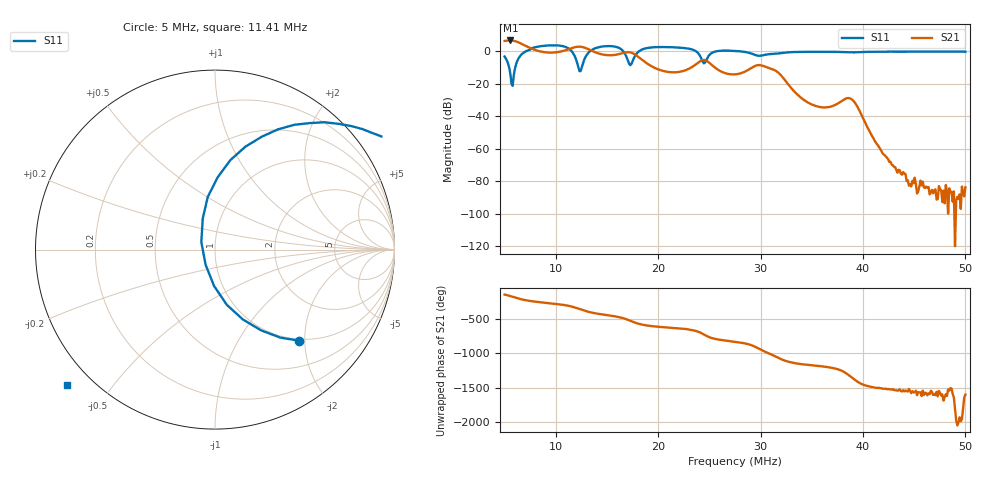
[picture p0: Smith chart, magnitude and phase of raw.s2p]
! S11/S21 only; reverse parameters are placeholders. Device calibration unverified.
! NanoVNA F V2 profile | COM3 | 2026-09-08T12:12:23.8114026-04:00 | device calibration unverified
# HZ S RI R 50
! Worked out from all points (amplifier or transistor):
!   401 points, 5 MHz to 50 MHz, reference 50 ohm
!   highest |S21| = 6.7 dB at 5.562 MHz (marker M1)
!   |S21| within 3 dB of that: start of sweep to 6.95 MHz
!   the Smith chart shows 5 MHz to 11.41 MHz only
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5000000  0.4695 -0.5075  -1.869 -0.9443  0 0  0 0
5562500  -0.00579 -0.2018  -2.16 -0.1626  0 0  0 0
6350000  0.1702 0.5741  -1.63 0.9673  0 0  0 0
7250000  0.8215 0.6716  -0.6843 1.195  0 0  0 0
7812500  0.6085 -1.145  -0.347 1.101  0 0  0 0
9950000  -0.1586 -1.525  0.2718 0.8869  0 0  0 0
1.1525e7  -0.8238 -0.6195  1.032 0.7004  0 0  0 0
1.25375e7  0.2122 0.2419  1.334 -0.3197  0 0  0 0
1.3775e7  1.06 -0.6001  0.4444 -0.8494  0 0  0 0
1.56875e7  0.4159 -1.353  -0.2119 -0.7425  0 0  0 0
1.63625e7  -0.2006 -1.159  -0.5071 -0.6873  0 0  0 0
1.715e7  -0.416 0.0705  -0.9073 -0.2464  0 0  0 0
1.83875e7  1.103 0.2214  -0.3833 0.4051  0 0  0 0
2.0075e7  1.286 -0.4355  -0.0489 0.2687  0 0  0 0
2.42375e7  0.3069 -0.4853  0.5205 0.0707  0 0  0 0
2.75e7  0.8955 -0.51  -0.0828 -0.1774  0 0  0 0
3.11e7  0.7249 -0.406  0.1518 0.2416  0 0  0 0
3.50375e7  0.7029 -0.6661  -0.00221 -0.0227  0 0  0 0
3.88625e7  0.541 -0.7614  -0.00218 0.0338  0 0  0 0
4.2575e7  0.442 -0.8683  5.8e-05 -0.000388  0 0  0 0
4.44875e7  0.3698 -0.9041  1.6e-05 -7.1e-05  0 0  0 0
5e7  0.1576 -0.9643  -6.1e-05 -2.3e-05  0 0  0 0
